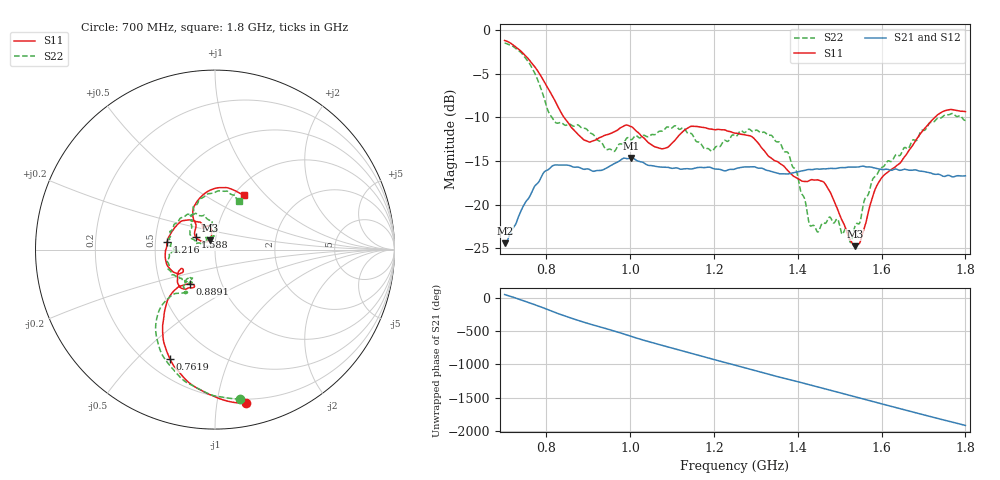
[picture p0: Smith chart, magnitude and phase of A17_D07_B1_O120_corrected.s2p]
! Created with skrf 1.9.0 (http://scikit-rf.org).
# Hz S RI R 50.0
!freq ReS11 ImS11 ReS21 ImS21 ReS12 ImS12 ReS22 ImS22
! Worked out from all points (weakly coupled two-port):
!   1601 points, 700 MHz to 1.8 GHz, reference 50 ohm
!   highest |S21| = -14.63 dB at 1.002 GHz (marker M1); lowest = -24.4 dB at 700.7 MHz (marker M2)
!   lowest |S11| = -24.7 dB at 1.536 GHz (marker M3), VSWR 1.12, Z = 47.1 + j4.83 ohm
!   |S11| at or under -10 dB: 842 MHz to 1.727 GHz (884.7 MHz wide, 68.9 % of centre)
!   |S22| runs from -24.3 to -1.5 dB; largest |S21 - S12| = 0.0034
!   S11 on the Smith chart (normalised r, x): 700 MHz: 0.17, -1.21; 761.9 MHz: 0.29, -0.63; 889.1 MHz: 0.71, -0.29; 1.216 GHz: 0.58, +0.05; 1.588 GHz: 0.80, +0.11; 1.8 GHz: 1.11, +0.76
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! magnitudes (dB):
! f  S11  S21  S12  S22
! 700 MHz  -1.2  -24.4  -24.2  -1.5
! 700.7 MHz  -1.2  -24.4  -24.1  -1.5
! 761.9 MHz  -3.6  -18.9  -18.8  -4.0
! 818.2 MHz  -7.9  -15.5  -15.6  -10.4
! 883.6 MHz  -12.3  -15.8  -15.7  -11.2
! 889.1 MHz  -12.6  -15.9  -15.8  -11.2
! 958.5 MHz  -11.7  -15.4  -15.4  -13.9
! 1.002 GHz  -11.0  -14.6  -14.7  -12.5
! 1.067 GHz  -13.5  -15.7  -15.6  -11.6
! 1.144 GHz  -11.0  -15.9  -15.9  -11.8
! 1.216 GHz  -11.4  -16.0  -16.0  -13.3
! 1.25 GHz  -11.8  -15.9  -15.8  -12.1
! 1.357 GHz  -15.3  -16.5  -16.4  -12.9
! 1.396 GHz  -16.9  -16.3  -16.3  -16.0
! 1.434 GHz  -17.1  -16.0  -15.9  -22.4
! 1.468 GHz  -17.8  -15.9  -15.9  -22.0
! 1.526 GHz  -24.1  -15.7  -15.7  -24.3
! 1.536 GHz  -24.7  -15.7  -15.7  -22.5
! 1.588 GHz  -17.9  -15.8  -15.8  -16.6
! 1.617 GHz  -16.2  -16.0  -15.9  -15.0
! 1.734 GHz  -9.7  -16.5  -16.6  -10.1
! 1.8 GHz  -9.3  -16.7  -16.7  -10.3
